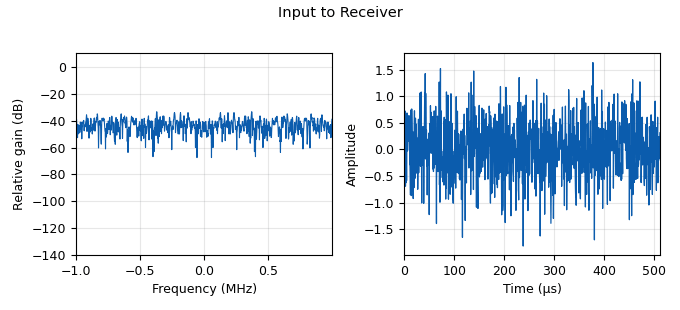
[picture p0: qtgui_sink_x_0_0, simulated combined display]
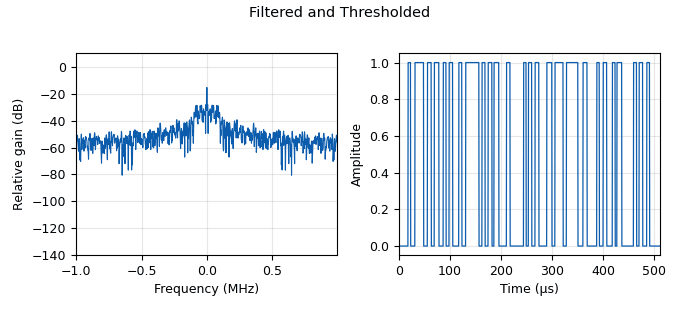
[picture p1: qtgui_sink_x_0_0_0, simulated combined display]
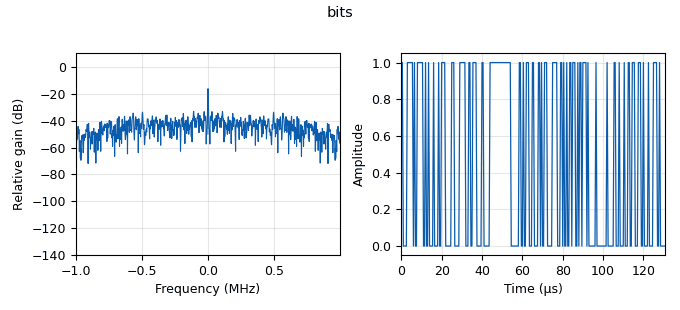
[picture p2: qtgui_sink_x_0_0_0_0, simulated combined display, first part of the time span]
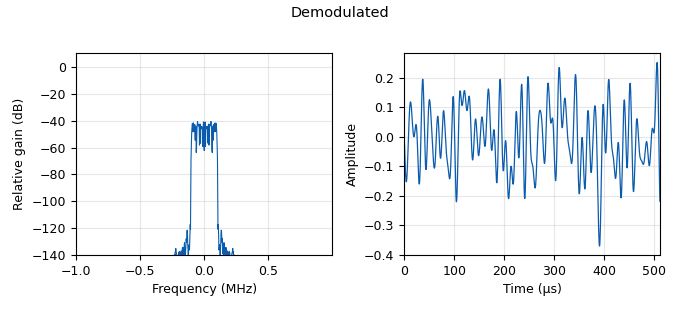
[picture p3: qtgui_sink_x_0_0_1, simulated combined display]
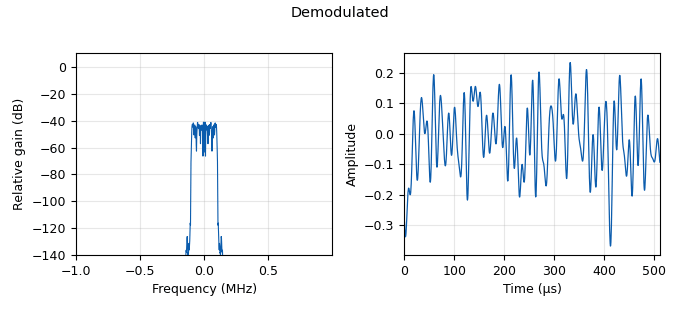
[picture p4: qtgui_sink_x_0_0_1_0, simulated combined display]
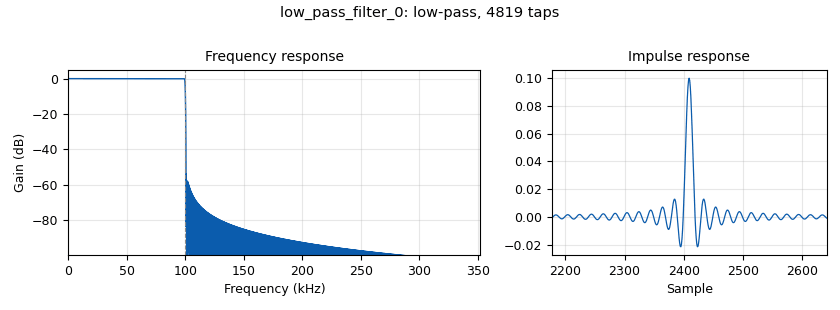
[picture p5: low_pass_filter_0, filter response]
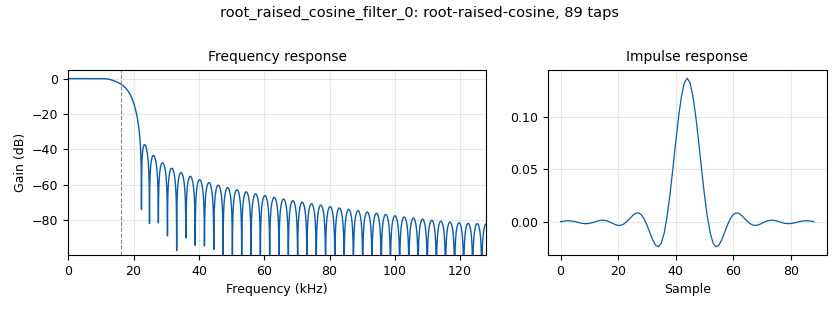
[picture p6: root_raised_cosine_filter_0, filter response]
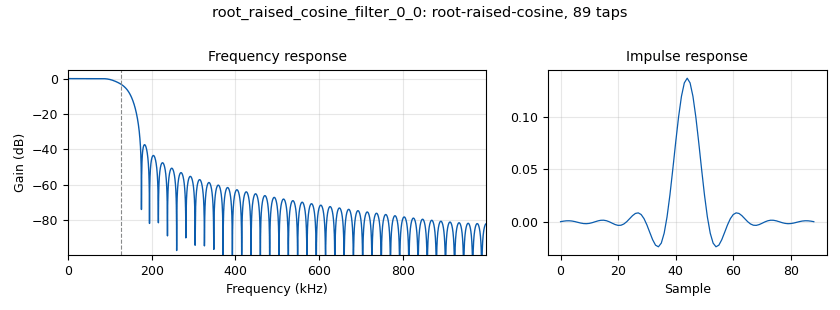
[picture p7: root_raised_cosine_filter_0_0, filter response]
options:
  parameters:
    generate_options: qt_gui
    id: lab82
    output_language: python
    title: lab82
  states: {}

blocks:
- name: alpha
  id: variable_qtgui_range
  parameters:
    label: alpha
    start: '0'
    step: '0.001'
    stop: '1'
    value: '0.35'
  states: {}
- name: amp
  id: variable_qtgui_range
  parameters:
    label: amp
    start: '0'
    step: '0.001'
    stop: '1'
    value: '0.5'
  states: {}
- name: sps
  id: variable_qtgui_range
  parameters:
    label: sps
    rangeType: int
    start: '0'
    step: '1'
    stop: '16'
    value: '8'
  states: {}
- name: sym_rate
  id: variable_qtgui_range
  parameters:
    label: sym_rate
    rangeType: int
    start: '1600'
    step: '1'
    stop: '160000'
    value: '32000'
  states: {}
- name: analog_noise_source_x_0
  id: analog_noise_source_x
  parameters:
    amp: amp
    noise_type: analog.GR_GAUSSIAN
    seed: '0'
    type: float
  states: {}
- name: analog_random_source_x_0
  id: analog_random_source_x
  parameters:
    max: '2'
    min: '0'
    num_samps: '1000'
    repeat: 'True'
    type: byte
  states: {}
- name: analog_sig_source_x_0
  id: analog_sig_source_x
  parameters:
    amp: '1'
    freq: '100000'
    offset: '0'
    phase: '0'
    samp_rate: '2000000'
    type: complex
    waveform: analog.GR_COS_WAVE
  states: {}
- name: analog_sig_source_x_1
  id: analog_sig_source_x
  parameters:
    amp: '1'
    freq: '100000'
    offset: '0'
    phase: '0'
    samp_rate: '2000000'
    type: float
    waveform: analog.GR_COS_WAVE
  states: {}
- name: blocks_add_xx_0
  id: blocks_add_xx
  parameters:
    type: float
  states: {}
- name: blocks_complex_to_real_0
  id: blocks_complex_to_real
  parameters: {}
  states: {}
- name: blocks_multiply_xx_0
  id: blocks_multiply_xx
  parameters:
    type: complex
  states: {}
- name: blocks_multiply_xx_1
  id: blocks_multiply_xx
  parameters:
    type: float
  states: {}
- name: blocks_threshold_ff_0
  id: blocks_threshold_ff
  parameters:
    high: '0.025'
    init: '0'
    low: '-0.025'
  states: {}
- name: blocks_throttle_0
  id: blocks_throttle
  parameters:
    samples_per_second: sym_rate*sps
    type: complex
  states: {state: disabled}
- name: blocks_throttle_0_0
  id: blocks_throttle
  parameters:
    samples_per_second: '2000000'
    type: float
  states: {}
- name: blocks_throttle_0_0_0
  id: blocks_throttle
  parameters:
    samples_per_second: '2000000'
    type: float
  states: {}
- name: blocks_throttle_0_0_0_0
  id: blocks_throttle
  parameters:
    samples_per_second: '2000000'
    type: float
  states: {}
- name: blocks_throttle_0_0_1
  id: blocks_throttle
  parameters:
    samples_per_second: '2000000'
    type: float
  states: {}
- name: blocks_throttle_0_0_1_0
  id: blocks_throttle
  parameters:
    samples_per_second: '2000000'
    type: float
  states: {}
- name: digital_chunks_to_symbols_xx_0
  id: digital_chunks_to_symbols_xx
  parameters:
    dimension: '1'
    in_type: byte
    out_type: complex
    symbol_table: (-0.5, 0.5)
  states: {}
- name: fir_filter_xxx_0
  id: fir_filter_xxx
  parameters:
    decim: sps
    taps: '1'
    type: fff
  states: {}
- name: interp_fir_filter_xxx_0
  id: interp_fir_filter_xxx
  parameters:
    interp: sps
    taps: '1'
    type: ccc
  states: {}
- name: low_pass_filter_0
  id: low_pass_filter
  parameters:
    cutoff_freq: '100000'
    gain: '1'
    interp: '1'
    samp_rate: '2000000'
    type: interp_fir_filter_fff
    width: '1000'
    win: window.WIN_HAMMING
  states: {}
- name: qtgui_sink_x_0
  id: qtgui_sink_x
  parameters:
    bw: sym_rate*sps
    fc: '0'
    fftsize: '1024'
    type: complex
  states: {state: disabled}
- name: qtgui_sink_x_0_0
  id: qtgui_sink_x
  parameters:
    bw: '2000000'
    fc: '0'
    fftsize: '1024'
    name: Input to Receiver
    type: float
  states: {}
- name: qtgui_sink_x_0_0_0
  id: qtgui_sink_x
  parameters:
    bw: '2000000'
    fc: '0'
    fftsize: '1024'
    name: Filtered and Thresholded
    type: float
  states: {}
- name: qtgui_sink_x_0_0_0_0
  id: qtgui_sink_x
  parameters:
    bw: '2000000'
    fc: '0'
    fftsize: '1024'
    name: bits
    type: float
  states: {}
- name: qtgui_sink_x_0_0_1
  id: qtgui_sink_x
  parameters:
    bw: '2000000'
    fc: '0'
    fftsize: '1024'
    name: Demodulated
    type: float
  states: {}
- name: qtgui_sink_x_0_0_1_0
  id: qtgui_sink_x
  parameters:
    bw: '2000000'
    fc: '0'
    fftsize: '1024'
    name: Demodulated
    type: float
  states: {}
- name: rational_resampler_xxx_0
  id: rational_resampler_xxx
  parameters:
    decim: '16'
    interp: '125'
    type: ccc
  states: {}
- name: root_raised_cosine_filter_0
  id: root_raised_cosine_filter
  parameters:
    alpha: alpha
    gain: '1'
    interp: '1'
    ntaps: 11*sps
    samp_rate: sym_rate*sps
    sym_rate: sym_rate
    type: interp_fir_filter_ccf
  states: {}
- name: root_raised_cosine_filter_0_0
  id: root_raised_cosine_filter
  parameters:
    alpha: alpha
    gain: '1'
    interp: '1'
    ntaps: 11*sps
    samp_rate: '2000000'
    sym_rate: 2000000/sps
    type: interp_fir_filter_fff
  states: {}

connections:
- [analog_noise_source_x_0, '0', blocks_add_xx_0, '0']
- [analog_random_source_x_0, '0', digital_chunks_to_symbols_xx_0, '0']
- [analog_sig_source_x_0, '0', blocks_multiply_xx_0, '1']
- [analog_sig_source_x_1, '0', blocks_multiply_xx_1, '1']
- [blocks_add_xx_0, '0', blocks_multiply_xx_1, '0']
- [blocks_add_xx_0, '0', blocks_throttle_0_0, '0']
- [blocks_complex_to_real_0, '0', blocks_add_xx_0, '1']
- [blocks_multiply_xx_0, '0', blocks_complex_to_real_0, '0']
- [blocks_multiply_xx_1, '0', low_pass_filter_0, '0']
- [blocks_threshold_ff_0, '0', blocks_throttle_0_0_0, '0']
- [blocks_threshold_ff_0, '0', fir_filter_xxx_0, '0']
- [blocks_throttle_0, '0', qtgui_sink_x_0, '0']
- [blocks_throttle_0_0, '0', qtgui_sink_x_0_0, '0']
- [blocks_throttle_0_0_0, '0', qtgui_sink_x_0_0_0, '0']
- [blocks_throttle_0_0_0_0, '0', qtgui_sink_x_0_0_0_0, '0']
- [blocks_throttle_0_0_1, '0', qtgui_sink_x_0_0_1, '0']
- [blocks_throttle_0_0_1_0, '0', qtgui_sink_x_0_0_1_0, '0']
- [digital_chunks_to_symbols_xx_0, '0', interp_fir_filter_xxx_0, '0']
- [fir_filter_xxx_0, '0', blocks_throttle_0_0_0_0, '0']
- [interp_fir_filter_xxx_0, '0', root_raised_cosine_filter_0, '0']
- [low_pass_filter_0, '0', blocks_throttle_0_0_1, '0']
- [low_pass_filter_0, '0', root_raised_cosine_filter_0_0, '0']
- [rational_resampler_xxx_0, '0', blocks_multiply_xx_0, '0']
- [root_raised_cosine_filter_0, '0', blocks_throttle_0, '0']
- [root_raised_cosine_filter_0, '0', rational_resampler_xxx_0, '0']
- [root_raised_cosine_filter_0_0, '0', blocks_threshold_ff_0, '0']
- [root_raised_cosine_filter_0_0, '0', blocks_throttle_0_0_1_0, '0']

metadata:
  file_format: 1
